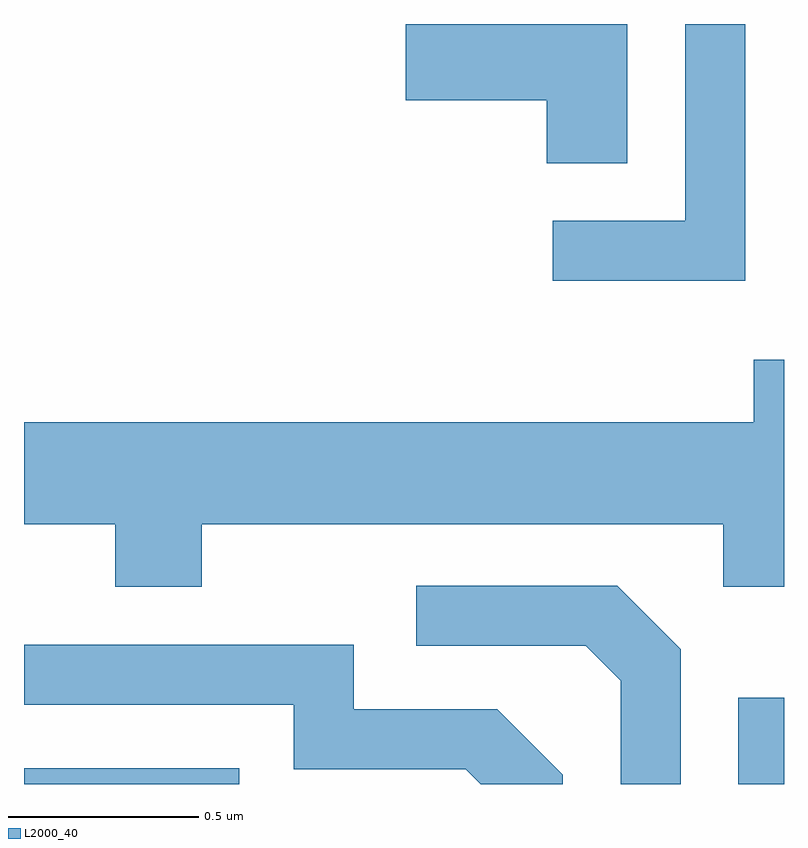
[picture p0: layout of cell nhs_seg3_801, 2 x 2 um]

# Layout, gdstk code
import gdstk
lib = gdstk.Library(unit=1e-6, precision=1e-09)
def R(c, l, rs):  # rectangles x0, y0, x1, y1
    for r in rs: c.add(gdstk.rectangle(r[:2], r[2:], *l))
def P(c, l, *ps):  # polygons
    for p in ps: c.add(gdstk.Polygon(p, *l))
L2000_40 = (2000, 40)

nhs_seg3_801 = lib.new_cell('nhs_seg3_801')
R(nhs_seg3_801, L2000_40, [(190.611,1231.892,191.178,1231.934), (192.491,1231.892,192.611,1232.119)])
P(nhs_seg3_801, L2000_40, [(192.199,1233.892),(191.616,1233.892),(191.616,1233.691),(191.986,1233.691),(191.986,1233.526),(192.199,1233.526)],
  [(192.509,1233.892),(192.351,1233.892),(192.351,1233.374),(192.003,1233.374),(192.003,1233.216),(192.509,1233.216)],
  [(191.079,1232.576),(192.451,1232.576),(192.451,1232.411),(192.611,1232.411),(192.611,1233.009),(192.531,1233.009),(192.531,1232.844),(190.611,1232.844),(190.611,1232.576),(190.851,1232.576),(190.851,1232.411),(191.079,1232.411)],
  [(192.339,1232.247),(192.172,1232.414),(191.643,1232.414),(191.643,1232.256),(192.089,1232.256),(192.181,1232.164),(192.181,1231.892),(192.339,1231.892)],
  [(192.029,1231.917),(191.857,1232.089),(191.479,1232.089),(191.479,1232.259),(190.611,1232.259),(190.611,1232.101),(191.321,1232.101),(191.321,1231.931),(191.774,1231.931),(191.813,1231.892),(192.029,1231.892)])

lib.write_gds('nhs_seg3_801.gds')
